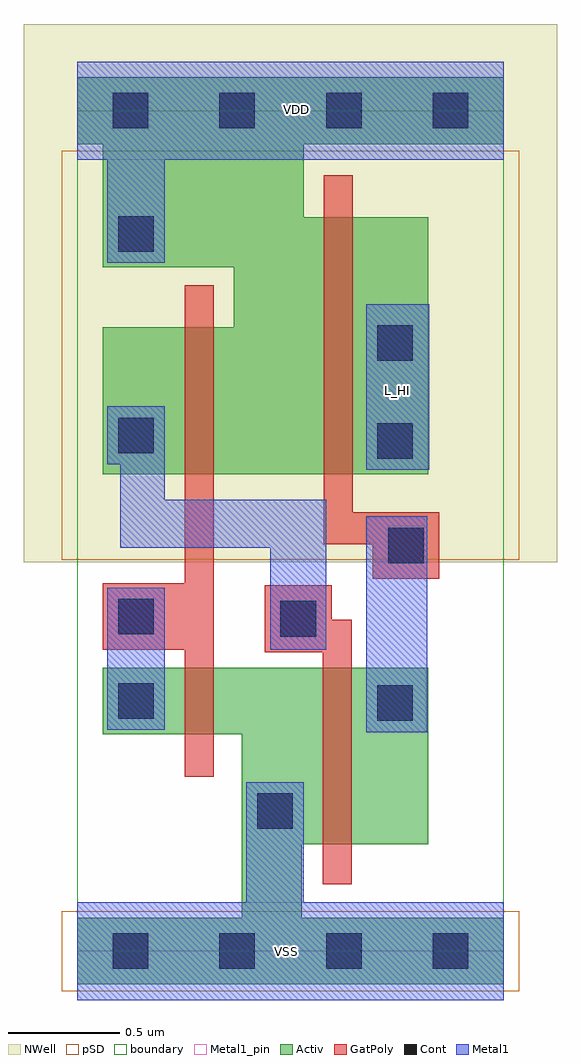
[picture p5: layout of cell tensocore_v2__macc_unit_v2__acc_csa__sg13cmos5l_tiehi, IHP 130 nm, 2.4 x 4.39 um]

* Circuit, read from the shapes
.subckt tensocore_v2__macc_unit_v2__acc_csa__sg13cmos5l_tiehi L_HI VDD VSS
XM1 VSS n1 n1 VSS sg13_lv_nmos w=0.3u l=0.13u
XM2 n2 n3 VSS VSS sg13_lv_nmos w=0.795u l=0.13u
XM3 VDD n1 n3 VDD sg13_lv_pmos w=0.66u l=0.13u
XM4 L_HI n2 VDD VDD sg13_lv_pmos w=1.155u l=0.13u
.ends

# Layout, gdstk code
import gdstk
lib = gdstk.Library(unit=1e-6, precision=1e-09)
def R(c, l, rs):  # rectangles x0, y0, x1, y1
    for r in rs: c.add(gdstk.rectangle(r[:2], r[2:], *l))
def P(c, l, *ps):  # polygons
    for p in ps: c.add(gdstk.Polygon(p, *l))
Activ = (1, 0)
GatPoly = (5, 0)
Cont = (6, 0)
Metal1 = (8, 0)
Metal1_pin = (8, 2)
pSD = (14, 0)
NWell = (31, 0)
boundary = (189, 4)

tensocore_v2__macc_unit_ = lib.new_cell('tensocore_v2__macc_unit_v2__acc_csa__sg13cmos5l_tiehi')
P(tensocore_v2__macc_unit_, Activ, [(0,-0.15),(0,0.15),(0.74,0.15),(0.74,0.975),(0.115,0.975),(0.115,1.275),(1.58,1.275),(1.58,0.48),(1.01,0.48),(1.01,0.15),(1.92,0.15),(1.92,-0.15)],
  [(0.115,2.145),(0.115,2.805),(0.705,2.805),(0.705,3.075),(0.115,3.075),(0.115,3.63),(0,3.63),(0,3.93),(1.92,3.93),(1.92,3.63),(1.02,3.63),(1.02,3.3),(1.58,3.3),(1.58,2.145)])
P(tensocore_v2__macc_unit_, GatPoly, [(1.105,0.3),(1.105,1.345),(0.845,1.345),(0.845,1.645),(1.145,1.645),(1.145,1.49),(1.235,1.49),(1.235,0.3)],
  [(0.485,0.785),(0.485,1.355),(0.115,1.355),(0.115,1.655),(0.485,1.655),(0.485,2.995),(0.615,2.995),(0.615,0.785)],
  [(1.33,1.675),(1.33,1.83),(1.11,1.83),(1.11,3.49),(1.24,3.49),(1.24,1.975),(1.63,1.975),(1.63,1.675)])
R(tensocore_v2__macc_unit_, Cont, [(0.16,-0.08,0.32,0.08), (0.16,-0.08,0.32,0.08), (0.64,-0.08,0.8,0.08), (0.64,-0.08,0.8,0.08), (1.12,-0.08,1.28,0.08), (1.12,-0.08,1.28,0.08), (1.6,-0.08,1.76,0.08), (1.6,-0.08,1.76,0.08), (0.81,0.55,0.97,0.71), (1.35,1.035,1.51,1.195), (0.185,1.045,0.345,1.205), (0.915,1.415,1.075,1.575), (0.185,1.425,0.345,1.585), (1.4,1.745,1.56,1.905), (1.35,2.215,1.51,2.375), (0.185,2.24,0.345,2.4), (1.35,2.655,1.51,2.815), (0.185,3.145,0.345,3.305), (0.16,3.7,0.32,3.86), (0.16,3.7,0.32,3.86), (0.64,3.7,0.8,3.86), (0.64,3.7,0.8,3.86), (1.12,3.7,1.28,3.86), (1.12,3.7,1.28,3.86), (1.6,3.7,1.76,3.86), (1.6,3.7,1.76,3.86)])
R(tensocore_v2__macc_unit_, Metal1, [(1.3,0.985,1.575,1.955), (0.135,0.995,0.395,1.635), (1.3,2.165,1.585,2.91)])
P(tensocore_v2__macc_unit_, Metal1, [(0.135,3.095),(0.135,3.56),(0,3.56),(0,4),(1.92,4),(1.92,3.56),(0.395,3.56),(0.395,3.095)],
  [(0,-0.22),(0,0.22),(0.76,0.22),(0.76,0.76),(1.02,0.76),(1.02,0.22),(1.92,0.22),(1.92,-0.22)],
  [(0.87,1.355),(0.87,1.815),(0.195,1.815),(0.195,2.19),(0.135,2.19),(0.135,2.45),(0.395,2.45),(0.395,2.03),(1.12,2.03),(1.12,1.355)])
R(tensocore_v2__macc_unit_, Metal1_pin, [(0,-0.22,1.92,0.22), (1.3,2.165,1.585,2.91), (0,3.56,1.92,4)])
R(tensocore_v2__macc_unit_, pSD, [(-0.07,-0.18,1.99,0.18), (-0.07,1.76,1.99,3.6)])
R(tensocore_v2__macc_unit_, NWell, [(-0.24,1.75,2.16,4.17)])
R(tensocore_v2__macc_unit_, boundary, [(0,0,1.92,3.78)])
tensocore_v2__macc_unit_.add(gdstk.Label('VSS', (0.94,0), layer=8, texttype=25))
tensocore_v2__macc_unit_.add(gdstk.Label('VDD', (0.985,3.785), layer=8, texttype=25))
tensocore_v2__macc_unit_.add(gdstk.Label('L_HI', (1.443,2.52), layer=8, texttype=25))

lib.write_gds('tensocore_v2__macc_unit_v2__acc_csa__sg13cmos5l_tiehi.gds')
